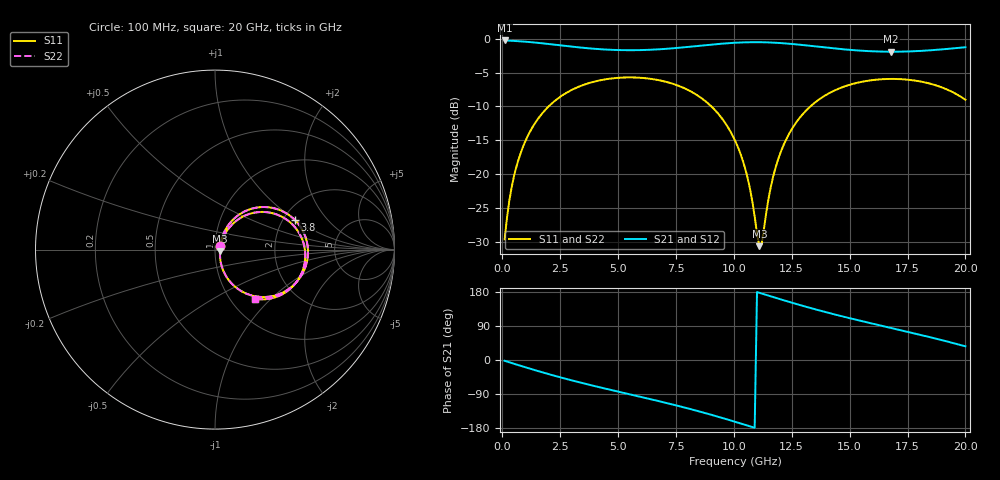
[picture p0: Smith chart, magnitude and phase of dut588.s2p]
! Touchstone file exported from HFSS 2026.1.0
!  File:  C:/ffzhzh/LocalFiles/Ansys_Project_Files/temp_train_TSV_RDL_588_1783120026_50312.aedt
!  Generated:  07:23:25 AM Jul  4, 2026
!  Design:  TSV_RDL
!  Project:  temp_train_TSV_RDL_588_1783120026_50312
! Variables:
!  h_bsmrdl = 5.12um
!  h_ox = 20um
!  h_rdl = 5um
!  h_sub = 95.03um
!  h_tmrdl = 3.04um
!  h_tsv = 95.03um
!  h_via = 3um
!  l_bsmrdl = 512.1um
!  l_sub = 5431.75um
!  l_tmrdl = 845.4um
!  m_sub = 200um
!  pitch = 45.28um
!  r_tsv = 6.02um
!  s_tmrdl = 10um
!  w_bsmrdl = 11.52um
!  w_sub = 500um
!  w_tmrdl = 26.43um
!  x_tsv_center1 = 858.615um
!  x_tsv_center2 = 1382.235um
!  x_tsv_center3 = 2254.065um
!  x_tsv_center4 = 2777.685um
!  x_tsv_center5 = 3649.515um
!  x_tsv_center6 = 4173.135um
# GHz S MA R 50.000000
! Terminal data exported
! Port[1] = TM_RDL1_1_T1
! Port[2] = TM_RDL5_1_T1
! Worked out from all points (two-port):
!   200 points, 100 MHz to 20 GHz, reference 50 ohm
!   highest |S21| = -0.23 dB at 100 MHz (marker M1); lowest = -1.9 dB at 16.8 GHz (marker M2)
!   |S21| within 3 dB of the highest: start of sweep to end of sweep
!   lowest |S11| = -30.7 dB at 11.1 GHz (marker M3), VSWR 1.06, Z = 52.9 - j0.9 ohm
!   |S11| at or under -10 dB: start of sweep to 2.001 GHz; 9.029 GHz to 13.31 GHz (4.277 GHz wide, 38.3 % of centre)
!   |S22| runs from -30.5 to -5.7 dB; largest |S21 - S12| = 1.7e-14
!   S11 on the Smith chart (normalised r, x): 100 MHz: 1.06, +0.04; 3.8 GHz: 2.30, +0.99; 20 GHz: 1.29, -0.81
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0.1  0.03281 34.1  0.9733 -2.0  0.9733 -2.0  0.03281 34.1
! Gamma 0 0 0 0
! Port Impedance 50 0 50 0
0.5  0.0954 61.7  0.9657 -9.8  0.9657 -9.8  0.0954 61.7
1.1  0.191 59.2  0.9499 -21.1  0.9499 -21.1  0.191 59.2
2.1  0.3281 45.4  0.9123 -39.0  0.9123 -39.0  0.3281 45.4
3.5  0.456 24.8  0.8583 -61.5  0.8583 -61.5  0.4559 24.8
3.8  0.4738 20.6  0.8492 -66.0  0.8492 -66.0  0.4737 20.6
5.3  0.518 -0.0  0.8246 -87.7  0.8246 -87.7  0.518 0.0
6.8  0.4929 -20.4  0.8377 -109.2  0.8377 -109.2  0.4929 -20.4
8.8  0.3428 -49.4  0.8989 -140.7  0.8989 -140.7  0.3428 -49.3
10.1  0.1695 -66.9  0.9369 -163.9  0.9369 -163.9  0.1696 -66.7
10.6  0.09256 -67.7  0.944 -173.2  0.944 -173.2  0.09266 -67.4
11.1  0.02921 -16.9  0.945 177.3  0.945 177.3  0.02969 -16.6
11.2  0.03038 13.2  0.9445 175.4  0.9445 175.4  0.03087 13.0
11.6  0.08076 55.3  0.9398 167.9  0.9398 167.9  0.08098 55.0
12  0.1415 57.1  0.9315 160.4  0.9315 160.4  0.1416 57.0
12.6  0.228 51.1  0.9137 149.5  0.9137 149.5  0.2281 51.0
13.4  0.3268 39.9  0.8843 135.7  0.8843 135.7  0.3269 39.8
14.9  0.4515 18.5  0.832 111.9  0.832 111.9  0.4516 18.5
16.7  0.5051 -5.7  0.8037 85.8  0.8037 85.8  0.5052 -5.7
16.8  0.5053 -7.0  0.8035 84.4  0.8035 84.4  0.5054 -7.0
18.5  0.4649 -29.8  0.8234 59.8  0.8234 59.8  0.4649 -29.7
20  0.3541 -50.7  0.8672 36.1  0.8672 36.1  0.3542 -50.6
